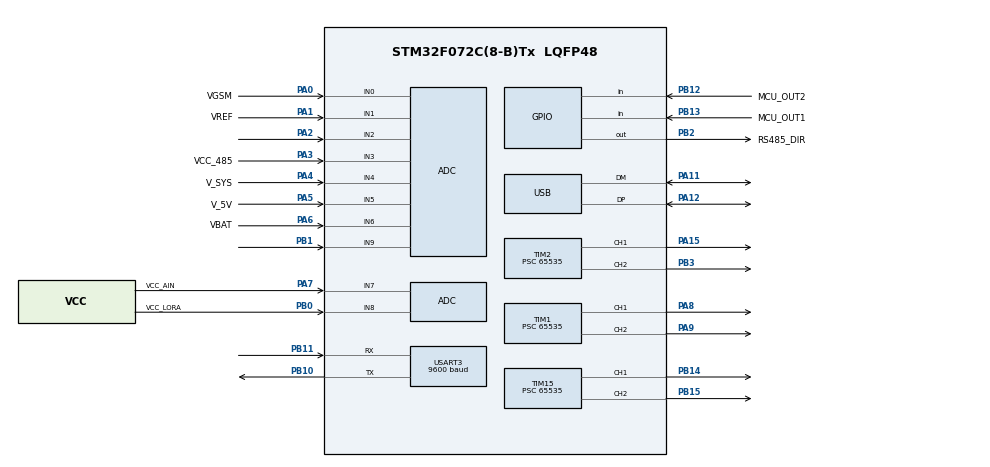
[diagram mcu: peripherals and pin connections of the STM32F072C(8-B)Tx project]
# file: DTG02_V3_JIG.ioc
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ADC.ContinuousConvMode=ENABLE
ADC.DMAContinuousRequests=ENABLE
ADC.EOCSelection=ADC_EOC_SINGLE_CONV
ADC.SamplingTime=ADC_SAMPLETIME_239CYCLES_5
Dma.ADC.0.Direction=DMA_PERIPH_TO_MEMORY
Dma.ADC.0.Instance=DMA1_Channel1
Dma.ADC.0.MemDataAlignment=DMA_MDATAALIGN_HALFWORD
Dma.ADC.0.MemInc=DMA_MINC_ENABLE
Dma.ADC.0.Mode=DMA_CIRCULAR
Dma.ADC.0.PeriphDataAlignment=DMA_PDATAALIGN_HALFWORD
Dma.ADC.0.PeriphInc=DMA_PINC_DISABLE
Dma.ADC.0.Priority=DMA_PRIORITY_LOW
Dma.Request0=ADC
IWDG.Prescaler=IWDG_PRESCALER_256
Mcu.Family=STM32F0
Mcu.Name=STM32F072C(8-B)Tx
Mcu.Package=LQFP48
NVIC.DMA1_Channel1_IRQn=true\:0\:0\:false\:false\:true\:false\:true
NVIC.USART3_4_IRQn=true\:0\:0\:false\:false\:true\:true\:true
NVIC.USB_IRQn=true\:0\:0\:false\:false\:true\:true\:true
PA0.GPIO_Label=VGSM
PA0.Mode=IN0
PA0.Signal=ADC_IN0
PA1.GPIO_Label=VREF
PA1.Mode=IN1
PA1.Signal=ADC_IN1
PA11.Mode=Device
PA11.Signal=USB_DM
PA12.Mode=Device
PA12.Signal=USB_DP
PA13.Mode=Serial_Wire
PA13.Signal=SYS_SWDIO
PA14.Mode=Serial_Wire
PA14.Signal=SYS_SWCLK
PA15.Signal=S_TIM2_CH1_ETR
PA2.Mode=IN2
PA2.Signal=ADC_IN2
PA3.GPIO_Label=VCC_485
PA3.Mode=IN3
PA3.Signal=ADC_IN3
PA4.GPIO_Label=V_SYS
PA4.Mode=IN4
PA4.Signal=ADC_IN4
PA5.GPIO_Label=V_5V
PA5.Mode=IN5
PA5.Signal=ADC_IN5
PA6.GPIO_Label=VBAT
PA6.Mode=IN6
PA6.Signal=ADC_IN6
PA7.GPIO_Label=VCC_AIN
PA7.Mode=IN7
PA7.Signal=ADC_IN7
PA8.Signal=S_TIM1_CH1
PA9.Signal=S_TIM1_CH2
PB0.GPIO_Label=VCC_LORA
PB0.Mode=IN8
PB0.Signal=ADC_IN8
PB1.Mode=IN9
PB1.Signal=ADC_IN9
PB10.Mode=Asynchronous
PB10.Signal=USART3_TX
PB11.Mode=Asynchronous
PB11.Signal=USART3_RX
PB12.GPIO_Label=MCU_OUT2
PB12.Signal=GPIO_Input
PB13.GPIO_Label=MCU_OUT1
PB13.Signal=GPIO_Input
PB14.Signal=S_TIM15_CH1
PB15.Signal=S_TIM15_CH2
PB2.GPIO_Label=RS485_DIR
PB2.Signal=GPIO_Output
PB3.Signal=S_TIM2_CH2
ProjectManager.HeapSize=0x200
ProjectManager.StackSize=0x400
ProjectManager.TargetToolchain=MDK-ARM V5.32
RCC.AHBFreq_Value=48000000
RCC.APB1Freq_Value=48000000
RCC.APB1TimFreq_Value=48000000
RCC.HCLKFreq_Value=48000000
RCC.SYSCLKFreq_VALUE=48000000
RCC.SYSCLKSource=RCC_SYSCLKSOURCE_HSI48
SH.S_TIM15_CH1.0=TIM15_CH1,PWM Generation1 CH1
SH.S_TIM15_CH2.0=TIM15_CH2,PWM Generation2 CH2
SH.S_TIM1_CH1.0=TIM1_CH1,PWM Generation1 CH1
SH.S_TIM1_CH2.0=TIM1_CH2,PWM Generation2 CH2
SH.S_TIM2_CH1_ETR.0=TIM2_CH1,PWM Generation1 CH1
SH.S_TIM2_CH2.0=TIM2_CH2,PWM Generation2 CH2
TIM1.Channel-PWM\ Generation1\ CH1=TIM_CHANNEL_1
TIM1.Channel-PWM\ Generation2\ CH2=TIM_CHANNEL_2
TIM1.ClockDivision=TIM_CLOCKDIVISION_DIV4
TIM1.Prescaler=65535
TIM1.Pulse-PWM\ Generation1\ CH1=90
TIM1.Pulse-PWM\ Generation2\ CH2=90
TIM15.Channel-PWM\ Generation1\ CH1=TIM_CHANNEL_1
TIM15.Channel-PWM\ Generation2\ CH2=TIM_CHANNEL_2
TIM15.ClockDivision=TIM_CLOCKDIVISION_DIV4
TIM15.Prescaler=65535
TIM15.Pulse-PWM\ Generation1\ CH1=90
TIM15.Pulse-PWM\ Generation2\ CH2=90
TIM2.Channel-PWM\ Generation1\ CH1=TIM_CHANNEL_1
TIM2.Channel-PWM\ Generation2\ CH2=TIM_CHANNEL_2
TIM2.ClockDivision=TIM_CLOCKDIVISION_DIV4
TIM2.Period=65535
TIM2.Prescaler=65535
TIM2.Pulse-PWM\ Generation1\ CH1=90
TIM2.Pulse-PWM\ Generation2\ CH2=90
USART3.BaudRate=9600
USART3.VirtualMode-Asynchronous=VM_ASYNC
USB_DEVICE.CLASS_NAME_FS=CUSTOM_HID
USB_DEVICE.MANUFACTURER_STRING=ByTech JSC
USB_DEVICE.PRODUCT_STRING_CUSTOMHID_FS=Huy dep trai
USB_DEVICE.USBD_CUSTOMHID_OUTREPORT_BUF_SIZE=64
USB_DEVICE.USBD_CUSTOM_HID_REPORT_DESC_SIZE=33
USB_DEVICE.USBD_DEBUG_LEVEL=3
USB_DEVICE.VirtualMode=CustomHid
USB_DEVICE.VirtualModeFS=Custom_Hid_FS
VP_ADC_Vref_Input.Mode=IN-Vrefint
VP_IWDG_VS_IWDG.Mode=IWDG_Activate
VP_TIM15_VS_ClockSourceINT.Mode=Internal
VP_TIM1_VS_ClockSourceINT.Mode=Internal
VP_TIM2_VS_ClockSourceINT.Mode=Internal
VP_USB_DEVICE_VS_USB_DEVICE_CUSTOM_HID_FS.Mode=CUSTOM_HID_FS
board=custom

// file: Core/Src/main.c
/* USER CODE BEGIN Header */
/**
  ******************************************************************************
  * @file           : main.c
  * @brief          : Main program body
  ******************************************************************************
  * @attention
  *
  * <h2><center>&copy; Copyright (c) 2021 STMicroelectronics.
  * All rights reserved.</center></h2>
  *
  * This software component is licensed by ST under Ultimate Liberty license
  * SLA0044, the "License"; You may not use this file except in compliance with
  * the License. You may obtain a copy of the License at:
  *                             www.st.com/SLA0044
  *
  ******************************************************************************
  */
/* USER CODE END Header */
#include "main.h"
#include "adc.h"
#include "dma.h"
#include "iwdg.h"
#include "tim.h"
#include "usart.h"
#include "usb_device.h"
#include "gpio.h"

/* USER CODE BEGIN Includes */
#include "app_debug.h"
#include "usb_device.h"
#include "usbd_customhid.h"
#include "usbd_custom_hid_if.h"
#include "stdbool.h"
#include "lwrb/lwrb.h"
/* USER CODE END Includes */

/* USER CODE BEGIN PD */
#define MAX_RS485_BUFFER_SIZE               512
#define MAX_REPORT_BUFFER_SIZE              256
#define USB_RX_BUFFER_SIZE                  256
#define ADC_MEASUREMENT_INVERVAL_MS         500
#define RS485_IDLE_TIMEOUT_MS               10
#define USB_WAIT_TX_DONE_TIMEOUT_MS         (150)
#define APP_USB_WAIT_TX_CPLT(x)             xSemaphoreTake(m_sem_usb_tx_cplt, x)
#define APP_USB_TX_CPLT_DONE()              {   BaseType_t ctx_sw; xSemaphoreGiveFromISR(m_sem_usb_tx_cplt, &ctx_sw);  \
                                                portYIELD_FROM_ISR(ctx_sw);   \
                                            }
#define JIG_TOGGLE_IO_MS                    50
#define JIG_REQUEST_CMD                   "{\"test\":1}"

typedef struct
{
    uint8_t data[MAX_RS485_BUFFER_SIZE];
    uint32_t index;
    uint32_t rx_timestamp;
} rs485_rx_t;

/* USER CODE END PD */

void SystemClock_Config(void);

/* USER CODE BEGIN 0 */
void hid_tx_cplt_callback(uint8_t epnum);
static uint32_t m_adc_voltage[ADC_MAX_CHANNEL];
static uint32_t m_adc_resister_div[ADC_MAX_CHANNEL] = {2, 2, 2, 2, 2, 2, 2, 2, 2, 2, 1};        // Hardware resister divider on ADC port
static char m_report_data[MAX_REPORT_BUFFER_SIZE];
static rs485_rx_t m_rs485_rx =
{
    .index = 0
};

static uint8_t m_hid_rx_raw[USB_RX_BUFFER_SIZE];
static lwrb_t m_ringbuffer_usb_rx;

void hid_rx_data_cb(uint8_t *buffer);
static void send_data_to_host(uint8_t *data, uint32_t length);

static uint32_t m_last_slave_output[2];
static uint32_t m_slave_output_toggle_count[2];
static uint32_t m_rs485_pass = 10;
/* USER CODE END 0 */

int main(void)
{
  /* USER CODE BEGIN 1 */
	DEBUG_INFO("DTG02V3 JIG\r\nBuild %s %s\r\n", __DATE__, __TIME__);
  /* USER CODE END 1 */

  /* MCU Configuration--------------------------------------------------------*/

  /* Reset of all peripherals, Initializes the Flash interface and the Systick. */
  HAL_Init();

  /* Configure the system clock */
  SystemClock_Config();

  /* USER CODE BEGIN SysInit */

    // SET USB D+ to low =>> host will detect usb deconnect after software reset
    LL_GPIO_InitTypeDef GPIO_InitStruct = {0};
    __HAL_RCC_GPIOA_CLK_ENABLE();
    GPIO_InitStruct.Pin = GPIO_PIN_12;
    GPIO_InitStruct.Mode = GPIO_MODE_OUTPUT_PP;
    GPIO_InitStruct.Pull = GPIO_PULLUP;
    LL_GPIO_Init(GPIOA, &GPIO_InitStruct);
    LL_GPIO_ResetOutputPin(GPIOA, GPIO_PIN_12);
    HAL_Delay(50);

    GPIO_InitStruct.Pin = GPIO_PIN_12;
    GPIO_InitStruct.Mode = GPIO_MODE_ANALOG;
    GPIO_InitStruct.Pull = GPIO_NOPULL;
    LL_GPIO_Init(GPIOA, &GPIO_InitStruct);

  /* USER CODE END SysInit */

  /* Initialize all configured peripherals */
  MX_GPIO_Init();
  MX_ADC_Init();
  MX_USART3_UART_Init();
  MX_DMA_Init();
  MX_USB_DEVICE_Init();
  MX_IWDG_Init();
  MX_TIM1_Init();
  MX_TIM2_Init();
  MX_TIM15_Init();
  /* USER CODE BEGIN 2 */
    lwrb_init(&m_ringbuffer_usb_rx, m_hid_rx_raw, sizeof(m_hid_rx_raw));
    usbd_custom_hid_if_register_rx_callback(hid_rx_data_cb);

    // Start ADC conversion
    adc_start();
    uint32_t last_adc_tick;

  /* USER CODE END 2 */

  /* Infinite loop */
  while (1)
  {

    /* USER CODE BEGIN 3 */

        uint32_t now = uwTick;

        // Read MCU output1 - 2 from slave
        uint32_t level = LL_GPIO_IsInputPinSet(MCU_OUT1_GPIO_Port, MCU_OUT1_Pin);
        if (level != m_last_slave_output[0])
        {
            m_last_slave_output[0] = level;
            m_slave_output_toggle_count[0]++;
        }

        level = LL_GPIO_IsInputPinSet(MCU_OUT2_GPIO_Port, MCU_OUT2_Pin);
        if (level != m_last_slave_output[1])
        {
            m_last_slave_output[1] = level;
            m_slave_output_toggle_count[1]++;
        }

        // Check ADC value and send data to PC
        if (now - last_adc_tick >= ADC_MEASUREMENT_INVERVAL_MS)
        {
            last_adc_tick = now;
            uint16_t *adc_result = adc_get_result();
            static uint32_t prev_vref = 0;
            for (uint32_t i = 0; i < ADC_MAX_CHANNEL; i++)
            {
                m_adc_voltage[i] = adc_result[i];
                if (ADC_CHANNEL_VREF != i)
                {
                    if (prev_vref == 0)
                    {
                        m_adc_voltage[i] = m_adc_voltage[i] *3300*m_adc_resister_div[i]/4096;
                    }
                    else
                    {
                        m_adc_voltage[i] = m_adc_voltage[i] *prev_vref*m_adc_resister_div[i]/4096;
                    }
                }
                else
                {
                    //m_adc_voltage[i] = 3300UL * (*VREFINT_CAL)/m_adc_voltage[i];
                    m_adc_voltage[i] = __LL_ADC_CALC_VREFANALOG_VOLTAGE(m_adc_voltage[i], LL_ADC_RESOLUTION_12B);;
                    prev_vref = m_adc_voltage[i];
                }
            }

            memset(m_report_data, 0, sizeof(m_report_data));
            uint32_t len = 0;
            len += sprintf((char*)m_report_data+len, "%s", "{");
            /**
             *  Frame send to PC
             *  {
                    "Outl":"PASSED",
                    "Out2":"FAILED",
                    "ADCx":1234,
                    "RS485":"PASSED"
                }
             */
            if (m_slave_output_toggle_count[0] > 10)
            {
                len += sprintf((char*)m_report_data+len, "\"Outl\":\"%s\",", "PASSED");

            }
            else
            {
                len += sprintf((char*)m_report_data+len, "\"Outl\":\"%s\",", "FAILED");
            }

            if (m_slave_output_toggle_count[1] > 10)
            {
                len += sprintf((char*)m_report_data+len, "\"Out2\":\"%s\",", "PASSED");

            }
            else
            {
                len += sprintf((char*)m_report_data+len, "\"Out2\":\"%s\"", "FAILED");
            }

            for (uint32_t i = 0; i < ADC_MAX_CHANNEL; i++)
            {
                len += sprintf((char*)m_report_data+len, "\"ADC%u\":%u,", i, m_adc_voltage[i]);
            }

            if (m_rs485_pass)
            {
                m_rs485_pass--;
                len += sprintf((char*)m_report_data+len, "\"RS485\":\"%s\"", "PASSED");
            }
            else
            {
                len += sprintf((char*)m_report_data+len, "\"RS485\":\"%s\"", "FAILED");
            }
            len += sprintf((char*)m_report_data+len, "%s", "}");

            send_data_to_host((uint8_t*)m_report_data, len);
            DEBUG_INFO("JIG =>>>>> PC : %s\r\n", (char*)m_report_data);

            LL_IWDG_ReloadCounter(IWDG);
        }

        // Forward RS485 packet to PC via USB
        if (m_rs485_rx.index && now - m_rs485_rx.rx_timestamp > RS485_IDLE_TIMEOUT_MS)
        {
            // Send test cmd to slave
            usart_rs485_send_data((uint8_t*)JIG_REQUEST_CMD, strlen((char*)JIG_REQUEST_CMD));

            // Get unique id
            static char m_last_device_id[13];
            char *device_id =  strstr((char*)m_rs485_rx.data, "\"id\":\"");
            if (device_id)
            {
                device_id += strlen("\"id\":\"");
                // If new device attached to JIG =>> reset previous device data and id
                m_last_device_id[12] = 0;
                if (strcmp(device_id, m_last_device_id))
                {
                    DEBUG_INFO("New device %s attached\r\n", m_last_device_id);
                    memcpy(m_last_device_id, device_id, 12);
                    m_slave_output_toggle_count[0] = 0;
                    m_slave_output_toggle_count[1] = 0;
                }
                m_rs485_pass = 10;
            }

            // Forward data to PC
            static uint32_t rs485_count = 0;
            memset(m_report_data, 0, sizeof(m_report_data));
            uint32_t len = 0;
            len += snprintf((char*)m_report_data, sizeof(m_report_data) - 1, "%s", m_rs485_rx.data);
            DEBUG_WARN("RS485 =>>>>> PC : %s\r\n", (char*)m_report_data);
            send_data_to_host((uint8_t*)m_report_data, len);

            // Add RS485 counter
            memset(m_report_data, 0, sizeof(m_report_data));
            len = 0;
            len += snprintf((char*)m_report_data, sizeof(m_report_data) - 1, "{\"rs485_count\":%u}", ++rs485_count);
            send_data_to_host((uint8_t*)m_report_data, len);

            memset(&m_rs485_rx, 0, sizeof(m_rs485_rx));
        }

        // Read USB RX buffer and forward to slave
        uint8_t tmp;
        while (lwrb_read(&m_ringbuffer_usb_rx, &tmp, 1))
        {
            usart_rs485_send_data(&tmp, 1);
        }
  }
  /* USER CODE END 3 */
}

void SystemClock_Config(void)
{
  LL_FLASH_SetLatency(LL_FLASH_LATENCY_1);
  while(LL_FLASH_GetLatency() != LL_FLASH_LATENCY_1)
  {
  }
  LL_RCC_HSI14_Enable();

   /* Wait till HSI14 is ready */
  while(LL_RCC_HSI14_IsReady() != 1)
  {

  }
  LL_RCC_HSI14_SetCalibTrimming(16);
  LL_RCC_HSI48_Enable();

   /* Wait till HSI48 is ready */
  while(LL_RCC_HSI48_IsReady() != 1)
  {

  }
  LL_RCC_LSI_Enable();

   /* Wait till LSI is ready */
  while(LL_RCC_LSI_IsReady() != 1)
  {

  }
  LL_RCC_SetAHBPrescaler(LL_RCC_SYSCLK_DIV_1);
  LL_RCC_SetAPB1Prescaler(LL_RCC_APB1_DIV_1);
  LL_RCC_SetSysClkSource(LL_RCC_SYS_CLKSOURCE_HSI48);

   /* Wait till System clock is ready */
  while(LL_RCC_GetSysClkSource() != LL_RCC_SYS_CLKSOURCE_STATUS_HSI48)
  {

  }
  LL_SetSystemCoreClock(48000000);

   /* Update the time base */
  if (HAL_InitTick (TICK_INT_PRIORITY) != HAL_OK)
  {
    Error_Handler();
  }
  LL_RCC_HSI14_EnableADCControl();
  LL_RCC_SetUSBClockSource(LL_RCC_USB_CLKSOURCE_HSI48);
}

/* USER CODE BEGIN 4 */
uint32_t sys_get_ms(void)
{
	return uwTick;
}

static volatile bool m_hid_tx_cplt = false;
void hid_tx_cplt_callback(uint8_t epnum)
{
    m_hid_tx_cplt = true;
}

static bool wait_hid_complete(uint32_t timeout_ms)
{
    uint32_t prev = uwTick;
    m_hid_tx_cplt = false;
    while (m_hid_tx_cplt == false)
    {
        if (uwTick - prev >= timeout_ms)
        {
            LL_IWDG_ReloadCounter(IWDG);
            break;
        }
    }
    return m_hid_tx_cplt;
}

void send_data_to_host(uint8_t *data, uint32_t length)
{
    if (hUsbDeviceFS.dev_state != USBD_STATE_CONFIGURED)
    {
        return;
    }

    uint8_t *p = data;
    uint32_t now = uwTick;
    uint32_t remain = length % CUSTOM_HID_EPIN_SIZE;
    length -= remain;
    for (uint32_t i = 0; i < (length)/CUSTOM_HID_EPIN_SIZE; i++)     // 64 = sizeof usb hid max transfer
    {
        if (USBD_OK == USBD_CUSTOM_HID_SendReport_FS((uint8_t*)p, CUSTOM_HID_EPIN_SIZE))
        {
            if (wait_hid_complete(USB_WAIT_TX_DONE_TIMEOUT_MS))
            {
                DEBUG_VERBOSE("HID TX complete in %ums\r\n", uwTick - now);
            }
            now = uwTick;
        }
        else
        {
            DEBUG_ERROR("Send report error\r\n");
        }
        p += CUSTOM_HID_EPIN_SIZE;
    }

    if (remain)
    {
        uint8_t tmp[CUSTOM_HID_EPIN_SIZE];
        memset(tmp, 0, sizeof(tmp));
        memcpy(tmp, p, remain);
        if (USBD_OK == USBD_CUSTOM_HID_SendReport_FS(tmp, CUSTOM_HID_EPIN_SIZE))
        {
            if (wait_hid_complete(USB_WAIT_TX_DONE_TIMEOUT_MS))
            {
                DEBUG_VERBOSE("HID TX complete in %ums\r\n", uwTick - now);
            }
            now = uwTick;
        }
        else
        {
            DEBUG_ERROR("Send report error\r\n");
        }
    }
}

void hid_rx_data_cb(uint8_t *buffer)
{
    DEBUG_INFO("HID RX %s\r\n", buffer);
    for (uint32_t i = 0; i < CUSTOM_HID_EPIN_SIZE; i++)       // 64 = USB HID max rx buffer size
    {
        if (buffer[i])
        {
            lwrb_write(&m_ringbuffer_usb_rx, buffer+i, 1);
        }
        else        // only accept string from PC
        {
            break;
        }
    }
}

void on_rs485_uart_cb(uint8_t data)
{
    if (data == 0)      // Only accept ascii character
    {
        return;
    }
//    DEBUG_RAW("%c", data);
    if (m_rs485_rx.index < MAX_RS485_BUFFER_SIZE)
    {
       m_rs485_rx.data[m_rs485_rx.index++] = data;
       m_rs485_rx.rx_timestamp = uwTick;
    }
}

/* USER CODE END 4 */

void Error_Handler(void)
{
  /* USER CODE BEGIN Error_Handler_Debug */
  /* User can add his own implementation to report the HAL error return state */
    DEBUG_ERROR("Error_Handler\r\n");
    __disable_irq();
    NVIC_SystemReset();
    while (1)
    {
    }
  /* USER CODE END Error_Handler_Debug */
}

#ifdef  USE_FULL_ASSERT
/**
  * @brief  Reports the name of the source file and the source line number
  *         where the assert_param error has occurred.
  * @param  file: pointer to the source file name
  * @param  line: assert_param error line source number
  * @retval None
  */
void assert_failed(uint8_t *file, uint32_t line)
{
  /* USER CODE BEGIN 6 */
    DEBUG_ERROR("Assert failed on file %s, line %u\r\n", __FILE__, __LINE__);
	NVIC_SystemReset();
  /* User can add his own implementation to report the file name and line number,
     ex: printf("Wrong parameters value: file %s on line %d\r\n", file, line) */
  /* USER CODE END 6 */
}
#endif /* USE_FULL_ASSERT */
